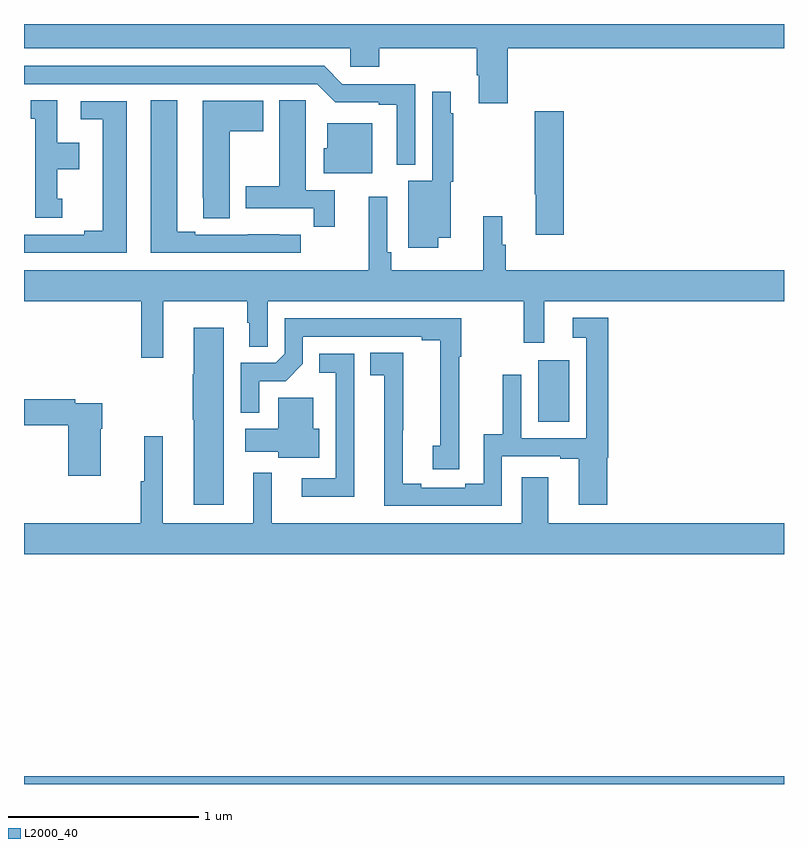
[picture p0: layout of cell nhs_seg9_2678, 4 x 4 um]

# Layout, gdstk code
import gdstk
lib = gdstk.Library(unit=1e-6, precision=1e-09)
def R(c, l, rs):  # rectangles x0, y0, x1, y1
    for r in rs: c.add(gdstk.rectangle(r[:2], r[2:], *l))
def P(c, l, *ps):  # polygons
    for p in ps: c.add(gdstk.Polygon(p, *l))
L2000_40 = (2000, 40)

nhs_seg9_2678 = lib.new_cell('nhs_seg9_2678')
R(nhs_seg9_2678, L2000_40, [(263,1240.5,267,1240.54), (265.706,1242.406,265.87,1242.73)])
P(nhs_seg9_2678, L2000_40, [(265.547,1244.372),(267,1244.372),(267,1244.5),(263,1244.5),(263,1244.372),(264.717,1244.372),(264.717,1244.274),(264.869,1244.274),(264.869,1244.372),(265.382,1244.372),(265.382,1244.23),(265.394,1244.23),(265.394,1244.082),(265.547,1244.082)],
  [(265.059,1244.184),(264.675,1244.184),(264.579,1244.28),(263,1244.28),(263,1244.184),(264.543,1244.184),(264.639,1244.088),(264.866,1244.088),(264.866,1244.076),(264.962,1244.076),(264.962,1243.76),(265.059,1243.76)],
  [(265.18,1243.376),(265.246,1243.376),(265.246,1243.671),(265.258,1243.671),(265.258,1244.03),(265.246,1244.03),(265.246,1244.143),(265.149,1244.143),(265.149,1243.675),(265.022,1243.675),(265.022,1243.323),(265.18,1243.323)],
  [(264.457,1243.392),(264.344,1243.392),(264.344,1243.393),(264.178,1243.393),(264.178,1243.392),(263.902,1243.392),(263.902,1243.407),(263.806,1243.407),(263.806,1244.099),(263.666,1244.099),(263.666,1243.296),(264.457,1243.296)],
  [(263.2,1243.581),(263.176,1243.581),(263.176,1243.736),(263.29,1243.736),(263.29,1243.876),(263.176,1243.876),(263.176,1244.099),(263.036,1244.099),(263.036,1244.001),(263.06,1244.001),(263.06,1243.479),(263.2,1243.479)],
  [(264.635,1243.626),(264.484,1243.626),(264.484,1243.988),(264.483,1243.988),(264.483,1244.099),(264.344,1244.099),(264.344,1243.647),(264.167,1243.647),(264.167,1243.53),(264.526,1243.53),(264.526,1243.434),(264.635,1243.434)],
  [(264.082,1243.936),(264.259,1243.936),(264.259,1244.095),(263.942,1244.095),(263.942,1243.585),(263.943,1243.585),(263.943,1243.477),(264.082,1243.477)],
  [(263.542,1244.094),(263.298,1244.094),(263.298,1243.998),(263.414,1243.998),(263.414,1243.412),(263.318,1243.412),(263.318,1243.392),(263,1243.392),(263,1243.296),(263.542,1243.296)],
  [(265.841,1244.041),(265.687,1244.041),(265.687,1243.604),(265.694,1243.604),(265.694,1243.392),(265.841,1243.392)],
  [(264.832,1243.978),(264.596,1243.978),(264.596,1243.845),(264.578,1243.845),(264.578,1243.715),(264.832,1243.715)],
  [(265.535,1243.338),(265.516,1243.338),(265.516,1243.489),(265.417,1243.489),(265.417,1243.204),(264.932,1243.204),(264.932,1243.3),(264.912,1243.3),(264.912,1243.591),(264.815,1243.591),(264.815,1243.204),(263,1243.204),(263,1243.04),(263.617,1243.04),(263.617,1242.744),(263.734,1242.744),(263.734,1243.04),(264.174,1243.04),(264.174,1242.927),(264.185,1242.927),(264.185,1242.802),(264.282,1242.802),(264.282,1243.04),(265.629,1243.04),(265.629,1242.822),(265.738,1242.822),(265.738,1243.04),(267,1243.04),(267,1243.204),(265.535,1243.204)],
  [(265.515,1242.225),(265.823,1242.225),(265.823,1242.213),(265.919,1242.213),(265.919,1241.97),(266.069,1241.97),(266.069,1242.218),(266.075,1242.218),(266.075,1242.955),(265.887,1242.955),(265.887,1242.849),(265.959,1242.849),(265.959,1242.321),(265.617,1242.321),(265.617,1242.655),(265.519,1242.655),(265.519,1242.341),(265.419,1242.341),(265.419,1242.08),(265.322,1242.08),(265.322,1242.06),(265.09,1242.06),(265.09,1242.08),(264.994,1242.08),(264.994,1242.361),(264.995,1242.361),(264.995,1242.77),(264.823,1242.77),(264.823,1242.652),(264.896,1242.652),(264.896,1241.964),(265.515,1241.964)],
  [(265.291,1242.748),(265.301,1242.748),(265.301,1242.951),(264.372,1242.951),(264.372,1242.765),(264.324,1242.717),(264.141,1242.717),(264.141,1242.455),(264.237,1242.455),(264.237,1242.621),(264.378,1242.621),(264.468,1242.711),(264.468,1242.855),(265.094,1242.855),(265.094,1242.835),(265.19,1242.835),(265.19,1242.28),(265.151,1242.28),(265.151,1242.156),(265.291,1242.156)],
  [(264.052,1242.901),(263.894,1242.901),(263.894,1242.656),(263.887,1242.656),(263.887,1242.418),(263.894,1242.418),(263.894,1241.97),(264.052,1241.97)],
  [(264.739,1242.562),(264.738,1242.562),(264.738,1242.765),(264.553,1242.765),(264.553,1242.664),(264.642,1242.664),(264.642,1242.108),(264.462,1242.108),(264.462,1242.011),(264.739,1242.011)],
  [(264.553,1242.37),(264.523,1242.37),(264.523,1242.532),(264.338,1242.532),(264.338,1242.37),(264.165,1242.37),(264.165,1242.248),(264.338,1242.248),(264.338,1242.218),(264.553,1242.218)],
  [(263.404,1242.371),(263.412,1242.371),(263.412,1242.504),(263.27,1242.504),(263.27,1242.524),(263,1242.524),(263,1242.388),(263.234,1242.388),(263.234,1242.123),(263.404,1242.123)],
  [(267,1241.872),(265.759,1241.872),(265.759,1242.115),(265.619,1242.115),(265.619,1241.872),(264.304,1241.872),(264.304,1242.139),(264.206,1242.139),(264.206,1241.872),(263.731,1241.872),(263.731,1242.331),(263.632,1242.331),(263.632,1242.093),(263.614,1242.093),(263.614,1241.872),(263,1241.872),(263,1241.708),(267,1241.708)])

lib.write_gds('nhs_seg9_2678.gds')
